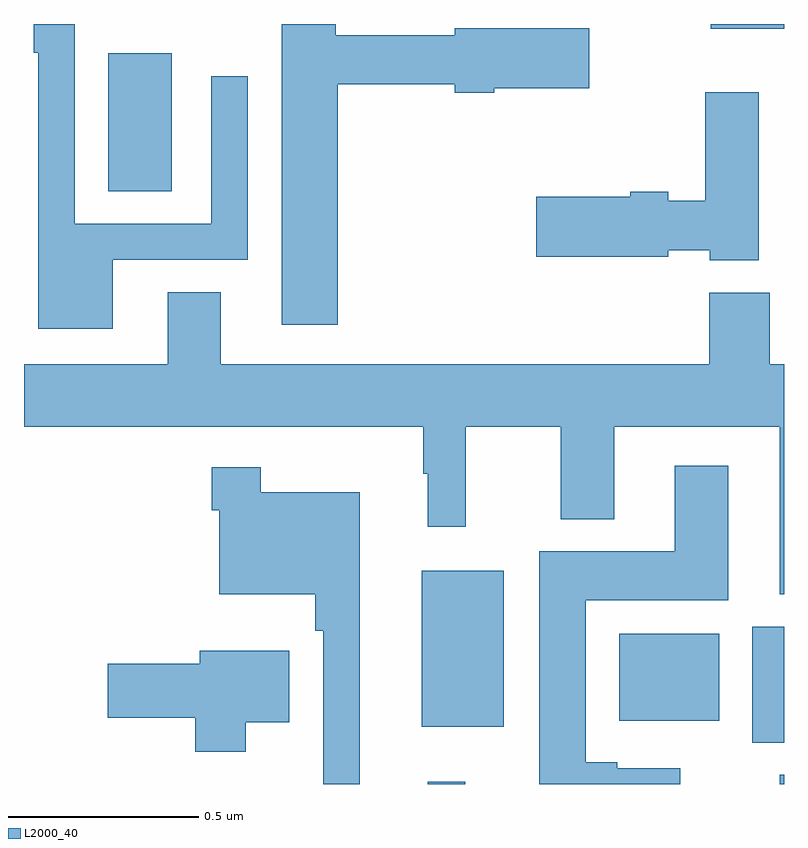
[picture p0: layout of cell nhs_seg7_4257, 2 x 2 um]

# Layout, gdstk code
import gdstk
lib = gdstk.Library(unit=1e-6, precision=1e-09)
def R(c, l, rs):  # rectangles x0, y0, x1, y1
    for r in rs: c.add(gdstk.rectangle(r[:2], r[2:], *l))
def P(c, l, *ps):  # polygons
    for p in ps: c.add(gdstk.Polygon(p, *l))
L2000_40 = (2000, 40)

nhs_seg7_4257 = lib.new_cell('nhs_seg7_4257')
R(nhs_seg7_4257, L2000_40, [(171.062,1009,171.161,1009.006), (171.989,1009,172,1009.024), (171.917,1009.109,172,1009.414), (171.047,1009.151,171.262,1009.561), (171.566,1009.166,171.829,1009.396), (170.222,1010.56,170.389,1010.923), (171.807,1010.988,172,1011)])
P(nhs_seg7_4257, L2000_40, [(170.825,1010.842),(171.134,1010.842),(171.134,1010.819),(171.238,1010.819),(171.238,1010.831),(171.487,1010.831),(171.487,1010.989),(171.134,1010.989),(171.134,1010.971),(170.82,1010.971),(170.82,1011),(170.678,1011),(170.678,1010.208),(170.825,1010.208)],
  [(170.233,1010.379),(170.589,1010.379),(170.589,1010.863),(170.493,1010.863),(170.493,1010.475),(170.133,1010.475),(170.133,1011),(170.025,1011),(170.025,1010.924),(170.037,1010.924),(170.037,1010.198),(170.233,1010.198)],
  [(171.934,1010.821),(171.793,1010.821),(171.793,1010.535),(171.696,1010.535),(171.696,1010.558),(171.596,1010.558),(171.596,1010.545),(171.348,1010.545),(171.348,1010.387),(171.696,1010.387),(171.696,1010.405),(171.804,1010.405),(171.804,1010.378),(171.934,1010.378)],
  [(170.518,1010.294),(170.378,1010.294),(170.378,1010.104),(170,1010.104),(170,1009.94),(171.051,1009.94),(171.051,1009.817),(171.062,1009.817),(171.062,1009.677),(171.162,1009.677),(171.162,1009.94),(171.413,1009.94),(171.413,1009.697),(171.553,1009.697),(171.553,1009.94),(171.989,1009.94),(171.989,1009.499),(172,1009.499),(172,1010.104),(171.963,1010.104),(171.963,1010.293),(171.803,1010.293),(171.803,1010.104),(170.518,1010.104)],
  [(171.727,1009.042),(171.561,1009.042),(171.561,1009.057),(171.478,1009.057),(171.478,1009.484),(171.853,1009.484),(171.853,1009.837),(171.713,1009.837),(171.713,1009.612),(171.356,1009.612),(171.356,1009),(171.727,1009)],
  [(170.884,1009.768),(170.623,1009.768),(170.623,1009.834),(170.494,1009.834),(170.494,1009.721),(170.514,1009.721),(170.514,1009.499),(170.767,1009.499),(170.767,1009.403),(170.787,1009.403),(170.787,1009),(170.884,1009)],
  [(170.584,1009.163),(170.698,1009.163),(170.698,1009.351),(170.462,1009.351),(170.462,1009.316),(170.22,1009.316),(170.22,1009.174),(170.45,1009.174),(170.45,1009.085),(170.584,1009.085)])

lib.write_gds('nhs_seg7_4257.gds')
